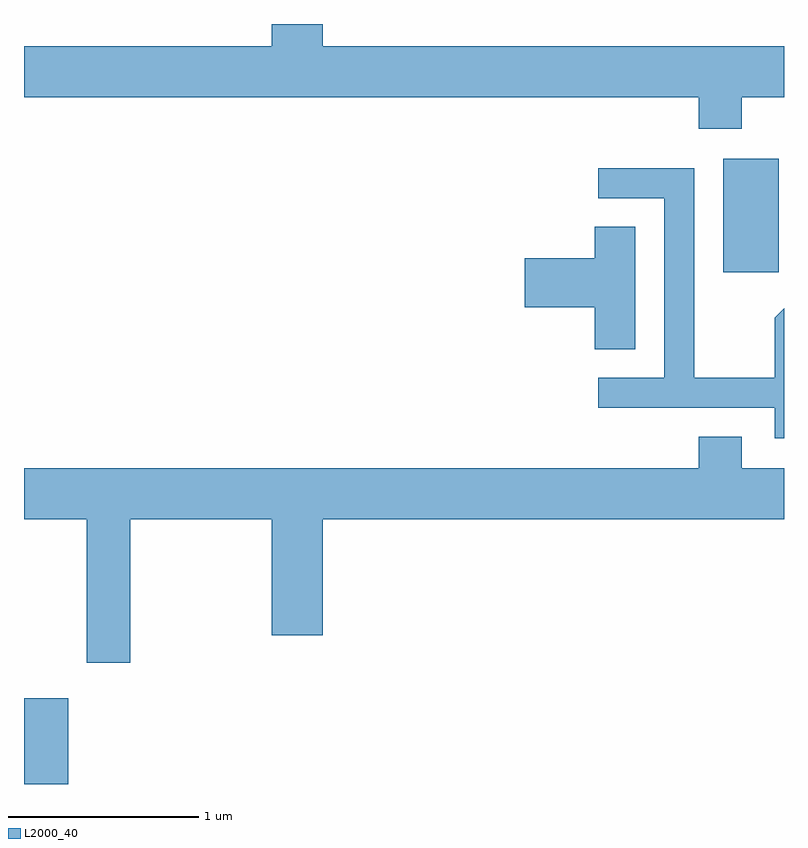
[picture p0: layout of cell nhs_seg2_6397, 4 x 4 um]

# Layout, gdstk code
import gdstk
lib = gdstk.Library(unit=1e-6, precision=1e-09)
def R(c, l, rs):  # rectangles x0, y0, x1, y1
    for r in rs: c.add(gdstk.rectangle(r[:2], r[2:], *l))
def P(c, l, *ps):  # polygons
    for p in ps: c.add(gdstk.Polygon(p, *l))
L2000_40 = (2000, 40)

nhs_seg2_6397 = lib.new_cell('nhs_seg2_6397')
R(nhs_seg2_6397, L2000_40, [(373.611,1055.802,373.844,1056.254), (377.291,1058.496,377.584,1059.094)])
P(nhs_seg2_6397, L2000_40, [(377.389,1059.416),(377.611,1059.416),(377.611,1059.684),(375.184,1059.684),(375.184,1059.802),(374.916,1059.802),(374.916,1059.684),(373.611,1059.684),(373.611,1059.416),(377.161,1059.416),(377.161,1059.251),(377.389,1059.251)],
  [(377.611,1058.307),(377.561,1058.257),(377.561,1057.939),(377.139,1057.939),(377.139,1059.044),(376.633,1059.044),(376.633,1058.886),(376.981,1058.886),(376.981,1057.939),(376.633,1057.939),(376.633,1057.781),(377.561,1057.781),(377.561,1057.621),(377.611,1057.621)],
  [(376.829,1058.734),(376.616,1058.734),(376.616,1058.569),(376.246,1058.569),(376.246,1058.311),(376.616,1058.311),(376.616,1058.091),(376.829,1058.091)],
  [(374.169,1057.196),(374.916,1057.196),(374.916,1056.586),(375.184,1056.586),(375.184,1057.196),(377.611,1057.196),(377.611,1057.464),(377.389,1057.464),(377.389,1057.629),(377.161,1057.629),(377.161,1057.464),(373.611,1057.464),(373.611,1057.196),(373.941,1057.196),(373.941,1056.441),(374.169,1056.441)])

lib.write_gds('nhs_seg2_6397.gds')
